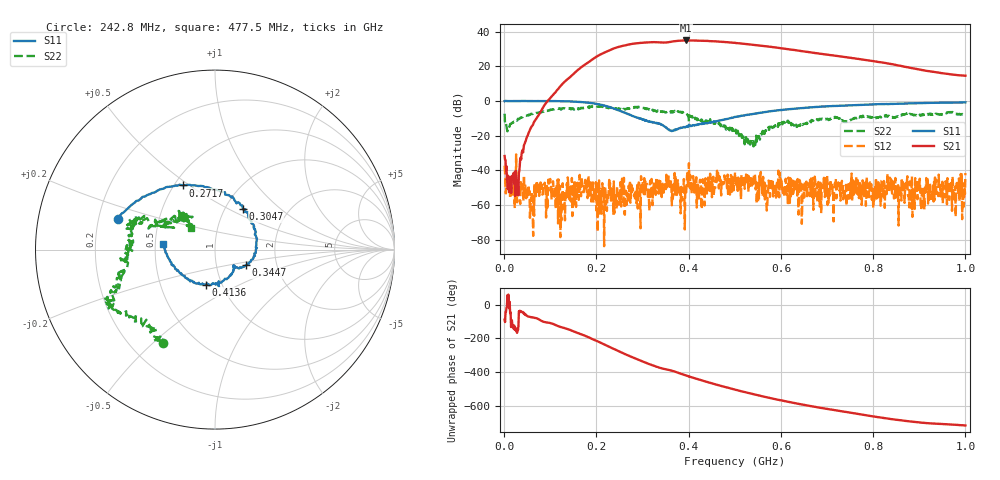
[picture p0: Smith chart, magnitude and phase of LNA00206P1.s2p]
! Created with skrf 1.9.0 (http://scikit-rf.org).
# Hz S RI R 50.0
!freq ReS11 ImS11 ReS21 ImS21 ReS12 ImS12 ReS22 ImS22
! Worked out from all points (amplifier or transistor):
!   1001 points, 1 MHz to 1 GHz, reference 50 ohm
!   highest |S21| = 34.8 dB at 394.6 MHz (marker M1)
!   |S21| within 3 dB of that: 259 MHz to 556.4 MHz (297.4 MHz wide, 72.9 % of centre)
!   unconditionally stable (mu >= 1): 2.625 MHz to 105.5 MHz; 259.8 MHz to 400.3 MHz; 400.9 MHz to end of sweep (the widest 3 of 21)
!   at 166.8 MHz: K = 2.84, MAG = 29.7 dB, |S12| = -54.9 dB
!   at 500.5 MHz: K = 1.22, MAG = 34.4 dB, |S12| = -41.0 dB
!   at 1 GHz: K = 1.35, MAG = 24.5 dB, |S12| = -41.5 dB
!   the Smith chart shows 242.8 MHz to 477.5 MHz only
!   S11 on the Smith chart (normalised r, x): 242.8 MHz: 0.28, +0.14; 271.7 MHz: 0.55, +0.47; 304.7 MHz: 1.21, +0.59; 344.7 MHz: 1.39, -0.25; 413.6 MHz: 0.84, -0.34; 477.5 MHz: 0.55, +0.04
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1000000  0.9874 0.00667  0.000264 -0.0259  -0.0136 -0.00138  0.2832 0.3211
1.08892e8  0.5078 -0.8484  -0.7757 -1.454  0.00128 0.00118  0.4393 -0.3693
1.67833e8  -0.2506 -0.891  -9.485 -0.5941  -0.00478 0.00446  0.0551 -0.627
2.09791e8  -0.6851 -0.3662  -15.25 15.99  -0.000594 0.00153  -0.1723 -0.668
2.42758e8  -0.5406 0.1704  -0.4398 34.03  0.000408 -0.00118  -0.2919 -0.5201
2.71729e8  -0.1787 0.3575  24.32 34.86  0.000732 -0.00201  -0.4945 -0.3434
3.04696e8  0.1554 0.2249  45.83 14.48  0.000978 -0.00143  -0.5541 -0.2461
3.34666e8  0.2186 -0.0219  47.84 -10.19  -0.00134 -0.00167  -0.5238 -0.0604
3.44656e8  0.174 -0.0877  44.95 -16.52  -0.000864 0.00305  -0.4992 -0.00539
3.7063e8  0.1026 -0.0991  41.93 -32.49  0.00132 -0.00148  -0.4547 0.1607
3.94606e8  0.0457 -0.1739  27.37 -47.98  -0.000905 0.00208  -0.4237 0.145
4.13587e8  -0.0518 -0.1948  12.44 -53.28  0.00192 0.00422  -0.2801 0.1594
4.41559e8  -0.1845 -0.1394  -9.121 -52.7  0.00279 0.00171  -0.1791 0.1977
4.77523e8  -0.2909 0.0332  -30.06 -39.89  0.00668 0.00251  -0.1346 0.1226
5.005e8  -0.2997 0.1745  -38.16 -27.74  0.00843 0.00297  -0.1148 0.0492
5.36464e8  -0.2067 0.3592  -41.01 -8.275  0.00289 -0.00101  -0.0615 0.011
5.85415e8  0.0181 0.519  -33.25 11.45  0.000236 -0.0021  -0.1758 -0.0637
6.25375e8  0.2207 0.5474  -22.22 19.59  0.00119 -0.00497  -0.1699 -0.1276
6.67333e8  0.425 0.4995  -11.21 21.86  -0.00108 -0.00132  -0.2648 -0.0105
7.53247e8  0.6991 0.2704  3.533 16.88  -0.00465 -0.00663  -0.286 0.0552
8.34166e8  0.8136 -0.0025  8.595 8.187  -0.000134 -0.00223  -0.3669 0.071
1e9  0.723 -0.5512  5.316 0.355  -0.00384 0.00744  -0.2295 0.3275
